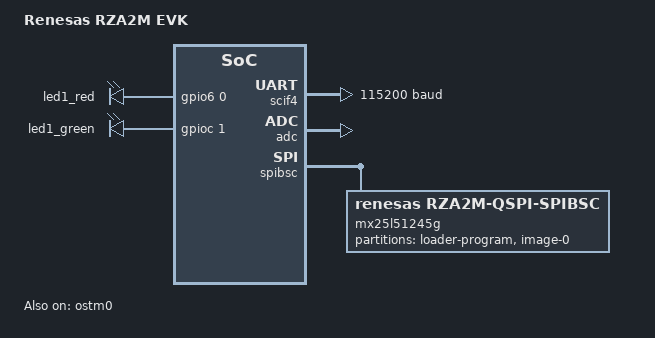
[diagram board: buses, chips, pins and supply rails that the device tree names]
/*
 * Copyright (c) 2025 Renesas Electronics Corporation
 * SPDX-License-Identifier: Apache-2.0
 */

/dts-v1/;
#include <arm/renesas/rz/rza/r7s9210.dtsi>
#include <freq.h>
#include "rza2m_evk-pinctrl.dtsi"

/ {
	model = "Renesas RZA2M EVK";
	compatible = "renesas,rza2m_evk";

	chosen {
		zephyr,sram = &ram;
		zephyr,flash = &mx25l51245g;
		zephyr,code-partition = &slot0_partition;
		zephyr,console = &scif4;
		zephyr,shell-uart = &scif4;
	};

	aliases {
		led0 = &led1_green;
		led1 = &led1_red;
	};

	leds {
		compatible = "gpio-leds";

		led1_red: led1_red {
			gpios = <&gpio6 0 GPIO_ACTIVE_HIGH>;
		};

		led1_green: led1_green {
			gpios = <&gpioc 1 GPIO_ACTIVE_HIGH>;
		};
	};
};

&osc {
	clock-frequency = <DT_FREQ_M(24)>;
};

&iclk {
	clock-frequency = <DT_FREQ_M(528)>;
};

&bclk {
	clock-frequency = <DT_FREQ_M(132)>;
};

&p1clk {
	clock-frequency = <DT_FREQ_M(66)>;
};

&ostm0 {
	status = "okay";
};

/* Currently, the maximum supported baud rate on the USB Micro port (CN5) is 115200 */
&scif4 {
	pinctrl-0 = <&scif4_default>;
	pinctrl-names = "default";
	current-speed = <115200>;
	status = "okay";
};

&adc {
	pinctrl-0 = <&adc_default>;
	pinctrl-names = "default";
	status = "okay";
};

&spibsc {
	pinctrl-0 = <&spibsc_default>;
	pinctrl-names = "default";
	status = "okay";

	mx25l51245g: qspi-nor-flash@20000000 {
		compatible = "renesas,rza2m-qspi-spibsc";
		reg = <0x20000000 DT_SIZE_M(64)>; /* 512 Mbits */
		write-block-size = <2>;
		erase-block-size = <4096>;
		status = "okay";

		partitions {
			compatible = "fixed-partitions";
			#address-cells = <1>;
			#size-cells = <1>;

			loader_program: partition@0 {
				label = "loader-program";
				reg = <0x00000000 DT_SIZE_K(56)>;
				read-only;
			};

			slot0_partition: partition@E000 {
				label = "image-0";
				reg = <0x0000E000 (DT_SIZE_M(64) - DT_SIZE_K(56))>;
				read-only;
			};
		};
	};
};
